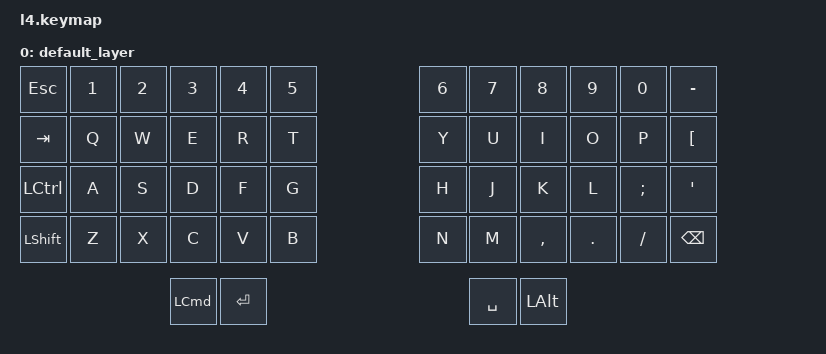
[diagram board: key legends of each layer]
#include <behaviors.dtsi>
#include <dt-bindings/zmk/keys.h>

/ {
    keymap {
        compatible = "zmk,keymap";

        default_layer {
            bindings = <
    &kp ESC   &kp N1  &kp N2  &kp N3   &kp N4    &kp N5    &kp N6    &kp N7   &kp N8    &kp N9   &kp N0    &kp MINUS
    &kp TAB   &kp Q   &kp W   &kp E    &kp R     &kp T     &kp Y     &kp U    &kp I     &kp O    &kp P     &kp LBKT
    &kp LCTRL &kp A   &kp S   &kp D    &kp F     &kp G     &kp H     &kp J    &kp K     &kp L    &kp SEMI  &kp APOS
    &kp LSHFT &kp Z   &kp X   &kp C    &kp V     &kp B     &kp N     &kp M    &kp COMMA &kp DOT  &kp SLASH &kp BSPC
                              &kp LCMD &kp ENTER           &kp SPACE &kp LALT
            >;
    };
};
